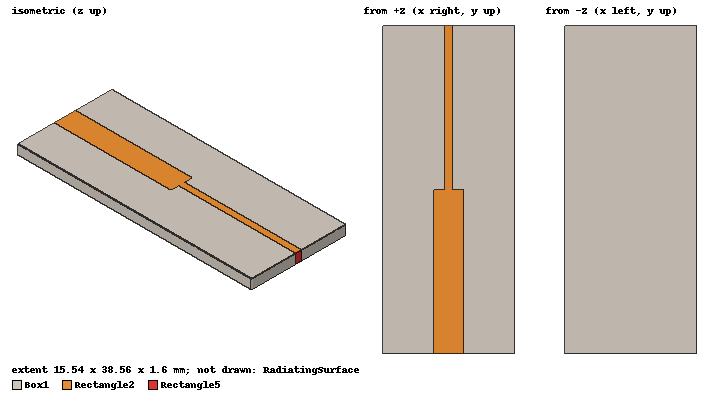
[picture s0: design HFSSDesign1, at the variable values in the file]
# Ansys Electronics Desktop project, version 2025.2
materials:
  vacuum: permittivity=1
  Rogers RO4350 (tm): permittivity=3.66 dielectric_loss_tangent=0.004

design HFSSDesign1 (HFSS, HFSS Terminal Network, model units mm)
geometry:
  Box1 [Rogers RO4350 (tm)] = box(corner=(0mm, 0mm, 0mm), size=(15.54mm, 38.56mm, -1.6mm))
  Rectangle1 = rectangle(corner=(6mm, 0mm, 0mm), x_size=3.54mm, y_size=19.28mm)
  Rectangle2 = rectangle(corner=(7.27mm, 19.28mm, 0mm), x_size=1mm, y_size=19.28mm)
  GND = rectangle(corner=(0mm, 0mm, -1.56mm), x_size=15.54mm, y_size=38.56mm)
  Rectangle4 = rectangle(corner=(6mm, 0mm, 0mm), z_size=-1.56mm, x_size=3.54mm)
  Rectangle5 = rectangle(corner=(8.27mm, 38.56mm, 0mm), z_size=-1.56mm, x_size=-1mm)
  Rectangle2.unite(Rectangle1)
  RadiatingSurface [vacuum] = region(absolute_offset=41.666667mm on all sides)
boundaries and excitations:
  PerfE1: Perfect E Objects=[Rectangle2, GND]
  Open1: Radiation Objects=RadiatingSurface
  Rectangle2_T1: Terminal port=1 Edges=Rectangle2.edge(at (7.77, 0, 0)) TerminalResistance=50ohm
  Rectangle2_T2: Terminal port=2 Edges=Rectangle2.edge(at (7.77, 38.56, 0)) TerminalResistance=50ohm
  1: Lumped Port Faces=Rectangle4.face LumpedPortType=Terminal Impedance=50ohm
  2: Lumped Port Faces=Rectangle5.face LumpedPortType=Terminal Impedance=100ohm
  reference conductors: GND
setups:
  Setup1: HfssDriven Frequency=2.4GHz MaxDeltaS=0.02 MaximumPasses=6 MinimumPasses=1 MinimumConvergedPasses=1 PercentRefinement=30 BasisOrder=1 PortAccuracy=2 DrivenSolverType="Direct Solver"
    sweep Sweep: 1.2GHz to 3.6GHz, 401 points; Type=Interpolating InterpTolerance=0.5 InterpMaxSolns=250 PassivityErrorTolerance=0.0001
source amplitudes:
  1:1: 1V 0deg
  2:1: 0V 0deg
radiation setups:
  3D: Infinite Sphere Theta=0deg..180deg step 2deg Phi=-180deg..180deg step 2deg
  Elevation: Infinite Sphere Theta=-180deg..180deg step 1deg Phi=0deg..90deg step 90deg
  Azimuth: Infinite Sphere Theta=90deg..90deg step 0deg Phi=-180deg..180deg step 1deg
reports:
  Terminal S Parameter Plot1: dB(St(Rectangle2_T1,Rectangle2_T1)), dB(St(Rectangle2_T2,Rectangle2_T1)), dB(St(Rectangle2_T1,Rectangle2_T2)), dB(St(Rectangle2_T2,Rectangle2_T2)) vs Freq on Setup1 : Sweep; markers m1 at 2.406GHz, m2 at 2.4GHz
